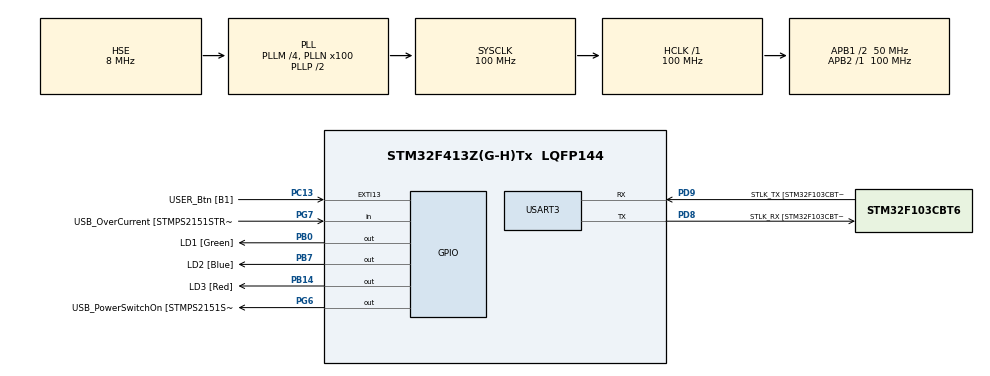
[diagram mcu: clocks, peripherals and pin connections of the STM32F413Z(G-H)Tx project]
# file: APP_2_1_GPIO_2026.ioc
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Mcu.Family=STM32F4
Mcu.Name=STM32F413Z(G-H)Tx
Mcu.Package=LQFP144
NVIC.PriorityGroup=NVIC_PRIORITYGROUP_4
PA10.GPIO_Label=USB_ID
PA10.Signal=USB_OTG_FS_ID
PA11.GPIO_Label=USB_DM
PA11.Signal=USB_OTG_FS_DM
PA12.GPIO_Label=USB_DP
PA12.Signal=USB_OTG_FS_DP
PA13.GPIO_Label=TMS
PA13.Mode=Serial_Wire
PA13.Signal=SYS_JTMS-SWDIO
PA14.GPIO_Label=TCK
PA14.Mode=Serial_Wire
PA14.Signal=SYS_JTCK-SWCLK
PA8.GPIO_Label=USB_SOF [TP1]
PA8.Signal=USB_OTG_FS_SOF
PA9.GPIO_Label=USB_VBUS
PA9.Signal=USB_OTG_FS_VBUS
PB0.GPIO_Label=LD1 [Green]
PB0.Signal=GPIO_Output
PB14.GPIO_Label=LD3 [Red]
PB14.Signal=GPIO_Output
PB3.GPIO_Label=SWO
PB3.Signal=SYS_JTDO-SWO
PB7.GPIO_Label=LD2 [Blue]
PB7.Signal=GPIO_Output
PC13.GPIO_Label=USER_Btn [B1]
PC13.Signal=GPXTI13
PC14-OSC32_IN.Mode=LSE-External-Oscillator
PC14-OSC32_IN.Signal=RCC_OSC32_IN
PC15-OSC32_OUT.Mode=LSE-External-Oscillator
PC15-OSC32_OUT.Signal=RCC_OSC32_OUT
PD8.GPIO_Label=STLK_RX [STM32F103CBT6_PA3]
PD8.Mode=Asynchronous
PD8.Signal=USART3_TX
PD9.GPIO_Label=STLK_TX [STM32F103CBT6_PA2]
PD9.Mode=Asynchronous
PD9.Signal=USART3_RX
PG6.GPIO_Label=USB_PowerSwitchOn [STMPS2151STR_EN]
PG6.Signal=GPIO_Output
PG7.GPIO_Label=USB_OverCurrent [STMPS2151STR_FAULT]
PG7.Signal=GPIO_Input
PH0\ -\ OSC_IN.GPIO_Label=MCO
PH0\ -\ OSC_IN.Mode=HSE-External-Oscillator
PH0\ -\ OSC_IN.Signal=RCC_OSC_IN
PH1\ -\ OSC_OUT.Mode=HSE-External-Oscillator
PH1\ -\ OSC_OUT.Signal=RCC_OSC_OUT
ProjectManager.HeapSize=0x200
ProjectManager.StackSize=0x400
ProjectManager.TargetToolchain=STM32CubeIDE
RCC.48MHZClocksFreq_Value=24000000
RCC.AHBFreq_Value=100000000
RCC.APB1CLKDivider=RCC_HCLK_DIV2
RCC.APB1Freq_Value=50000000
RCC.APB1TimFreq_Value=100000000
RCC.APB2Freq_Value=100000000
RCC.APB2TimFreq_Value=100000000
RCC.CortexFreq_Value=100000000
RCC.HCLKFreq_Value=100000000
RCC.HSE_VALUE=8000000
RCC.HSI_VALUE=16000000
RCC.PLLM=4
RCC.PLLMUL=RCC_PLL_MUL9
RCC.PLLN=100
RCC.PLLQ=8
RCC.PLLSourceVirtual=RCC_PLLSOURCE_HSE
RCC.PRESCALERUSB=RCC_USBCLKSOURCE_PLL_DIV1_5
RCC.SYSCLKFreq_VALUE=100000000
RCC.SYSCLKSource=RCC_SYSCLKSOURCE_PLLCLK
RCC.SYSCLKSourceVirtual=RCC_SYSCLKSOURCE_PLLCLK
RCC.USBFreq_Value=25000000
RCC.VCOOutputFreq_Value=200000000
USART3.VirtualMode=VM_ASYNC
board=NUCLEO-F413ZH

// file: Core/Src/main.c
/* USER CODE BEGIN Header */
/**
  ******************************************************************************
  * @file           : main.c
  * @brief          : Main program body
  ******************************************************************************
  * @attention
  *
  * Copyright (c) 2026 STMicroelectronics.
  * All rights reserved.
  *
  * This software is licensed under terms that can be found in the LICENSE file
  * in the root directory of this software component.
  * If no LICENSE file comes with this software, it is provided AS-IS.
  *
  ******************************************************************************
  */
/* USER CODE END Header */
#include "main.h"

/* USER CODE BEGIN Includes */
#include "API_GPIO.h"
#include "API_delay.h" // Include del nuevo driver no bloqueante
/* USER CODE END Includes */

/* USER CODE BEGIN PD */
#define LED1 LD1_Pin // GREEN LED
#define LED2 LD2_Pin // BLUE LED
#define LED3 LD3_Pin // RED LED
#define LED_DELAY_TIME 200 // Tiempo de retardo en milisegundos
/* USER CODE END PD */

UART_HandleTypeDef huart3;

/* USER CODE BEGIN PV */
uint16_t LEDS[] = {LED1, LED2, LED3};
buttonStatus_t User_Button;
// Variable de retardo y control de LEDs
delay_t ledDelay;
uint8_t ledIndex = 0;
bool_t ledStateOn = true; // Flag para alternar entre encender y apagar
/* USER CODE END PV */

void SystemClock_Config(void);
static void MX_GPIO_Init(void);
static void MX_USART3_UART_Init(void);

int main(void)
{

  /* MCU Configuration--------------------------------------------------------*/

  /* Reset of all peripherals, Initializes the Flash interface and the Systick. */
  HAL_Init();

  /* Configure the system clock */
  SystemClock_Config();

  /* Initialize all configured peripherals */
  MX_GPIO_Init();
  MX_USART3_UART_Init();
  /* USER CODE BEGIN 2 */
  // Inicialización del delay no bloqueante de 200 ms
    delayInit(&ledDelay, LED_DELAY_TIME);
//MX_USB_OTG_FS_PCD_Init();
  /* USER CODE END 2 */

  /* Infinite loop */
  /* USER CODE BEGIN WHILE */
	  while (1)
	  {
		  // Chequeo del delay no bloqueante
		        if (delayRead(&ledDelay))
		        {
		            if (ledStateOn)
		            {
		                // Enciende el LED actual
		                writeLedOn_GPIO(LEDS[ledIndex]);
		                ledStateOn = false; // La próxima vez le toca apagar
		            }
		            else
		            {
		                // Apaga el LED actual
		                writeLedOff_GPIO(LEDS[ledIndex]);
		                ledStateOn = true;  // La próxima vez encenderá el siguiente

		                // Incrementa el índice para pasar al siguiente LED (0, 1, 2)
		                ledIndex = (ledIndex + 1) % 3;
		            }
		        }

    /* USER CODE END WHILE */

	  }
}

void SystemClock_Config(void)
{
  RCC_OscInitTypeDef RCC_OscInitStruct = {0};
  RCC_ClkInitTypeDef RCC_ClkInitStruct = {0};

  /** Configure the main internal regulator output voltage
  */
  __HAL_RCC_PWR_CLK_ENABLE();
  __HAL_PWR_VOLTAGESCALING_CONFIG(PWR_REGULATOR_VOLTAGE_SCALE1);

  /** Initializes the RCC Oscillators according to the specified parameters
  * in the RCC_OscInitTypeDef structure.
  */
  RCC_OscInitStruct.OscillatorType = RCC_OSCILLATORTYPE_HSE;
  RCC_OscInitStruct.HSEState = RCC_HSE_ON;
  RCC_OscInitStruct.PLL.PLLState = RCC_PLL_ON;
  RCC_OscInitStruct.PLL.PLLSource = RCC_PLLSOURCE_HSE;
  RCC_OscInitStruct.PLL.PLLM = 4;
  RCC_OscInitStruct.PLL.PLLN = 100;
  RCC_OscInitStruct.PLL.PLLP = RCC_PLLP_DIV2;
  RCC_OscInitStruct.PLL.PLLQ = 8;
  RCC_OscInitStruct.PLL.PLLR = 2;
  if (HAL_RCC_OscConfig(&RCC_OscInitStruct) != HAL_OK)
  {
    Error_Handler();
  }

  /** Initializes the CPU, AHB and APB buses clocks
  */
  RCC_ClkInitStruct.ClockType = RCC_CLOCKTYPE_HCLK|RCC_CLOCKTYPE_SYSCLK
                              |RCC_CLOCKTYPE_PCLK1|RCC_CLOCKTYPE_PCLK2;
  RCC_ClkInitStruct.SYSCLKSource = RCC_SYSCLKSOURCE_PLLCLK;
  RCC_ClkInitStruct.AHBCLKDivider = RCC_SYSCLK_DIV1;
  RCC_ClkInitStruct.APB1CLKDivider = RCC_HCLK_DIV2;
  RCC_ClkInitStruct.APB2CLKDivider = RCC_HCLK_DIV1;

  if (HAL_RCC_ClockConfig(&RCC_ClkInitStruct, FLASH_LATENCY_3) != HAL_OK)
  {
    Error_Handler();
  }
}

static void MX_USART3_UART_Init(void)
{

  huart3.Instance = USART3;
  huart3.Init.BaudRate = 115200;
  huart3.Init.WordLength = UART_WORDLENGTH_8B;
  huart3.Init.StopBits = UART_STOPBITS_1;
  huart3.Init.Parity = UART_PARITY_NONE;
  huart3.Init.Mode = UART_MODE_TX_RX;
  huart3.Init.HwFlowCtl = UART_HWCONTROL_NONE;
  huart3.Init.OverSampling = UART_OVERSAMPLING_16;
  if (HAL_UART_Init(&huart3) != HAL_OK)
  {
    Error_Handler();
  }

}

static void MX_GPIO_Init(void)
{
  GPIO_InitTypeDef GPIO_InitStruct = {0};

  /* GPIO Ports Clock Enable */
  __HAL_RCC_GPIOC_CLK_ENABLE();
  __HAL_RCC_GPIOH_CLK_ENABLE();
  __HAL_RCC_GPIOB_CLK_ENABLE();
  __HAL_RCC_GPIOD_CLK_ENABLE();
  __HAL_RCC_GPIOG_CLK_ENABLE();
  __HAL_RCC_GPIOA_CLK_ENABLE();

  /*Configure GPIO pin Output Level */
  HAL_GPIO_WritePin(GPIOB, LD1_Pin|LD3_Pin|LD2_Pin, GPIO_PIN_RESET);

  /*Configure GPIO pin Output Level */
  HAL_GPIO_WritePin(USB_PowerSwitchOn_GPIO_Port, USB_PowerSwitchOn_Pin, GPIO_PIN_RESET);

  /*Configure GPIO pin : USER_Btn_Pin */
  GPIO_InitStruct.Pin = USER_Btn_Pin;
  GPIO_InitStruct.Mode = GPIO_MODE_IT_RISING;
  GPIO_InitStruct.Pull = GPIO_NOPULL;
  HAL_GPIO_Init(USER_Btn_GPIO_Port, &GPIO_InitStruct);

  /*Configure GPIO pins : LD1_Pin LD3_Pin LD2_Pin */
  GPIO_InitStruct.Pin = LD1_Pin|LD3_Pin|LD2_Pin;
  GPIO_InitStruct.Mode = GPIO_MODE_OUTPUT_PP;
  GPIO_InitStruct.Pull = GPIO_NOPULL;
  GPIO_InitStruct.Speed = GPIO_SPEED_FREQ_LOW;
  HAL_GPIO_Init(GPIOB, &GPIO_InitStruct);

  /*Configure GPIO pin : USB_PowerSwitchOn_Pin */
  GPIO_InitStruct.Pin = USB_PowerSwitchOn_Pin;
  GPIO_InitStruct.Mode = GPIO_MODE_OUTPUT_PP;
  GPIO_InitStruct.Pull = GPIO_NOPULL;
  GPIO_InitStruct.Speed = GPIO_SPEED_FREQ_LOW;
  HAL_GPIO_Init(USB_PowerSwitchOn_GPIO_Port, &GPIO_InitStruct);

  /*Configure GPIO pin : USB_OverCurrent_Pin */
  GPIO_InitStruct.Pin = USB_OverCurrent_Pin;
  GPIO_InitStruct.Mode = GPIO_MODE_INPUT;
  GPIO_InitStruct.Pull = GPIO_NOPULL;
  HAL_GPIO_Init(USB_OverCurrent_GPIO_Port, &GPIO_InitStruct);

  /*Configure GPIO pins : USB_SOF_Pin USB_ID_Pin USB_DM_Pin USB_DP_Pin */
  GPIO_InitStruct.Pin = USB_SOF_Pin|USB_ID_Pin|USB_DM_Pin|USB_DP_Pin;
  GPIO_InitStruct.Mode = GPIO_MODE_AF_PP;
  GPIO_InitStruct.Pull = GPIO_NOPULL;
  GPIO_InitStruct.Speed = GPIO_SPEED_FREQ_VERY_HIGH;
  GPIO_InitStruct.Alternate = GPIO_AF10_OTG_FS;
  HAL_GPIO_Init(GPIOA, &GPIO_InitStruct);

}

void Error_Handler(void)
{
  __disable_irq();
  while (1)
  {
  }
}
